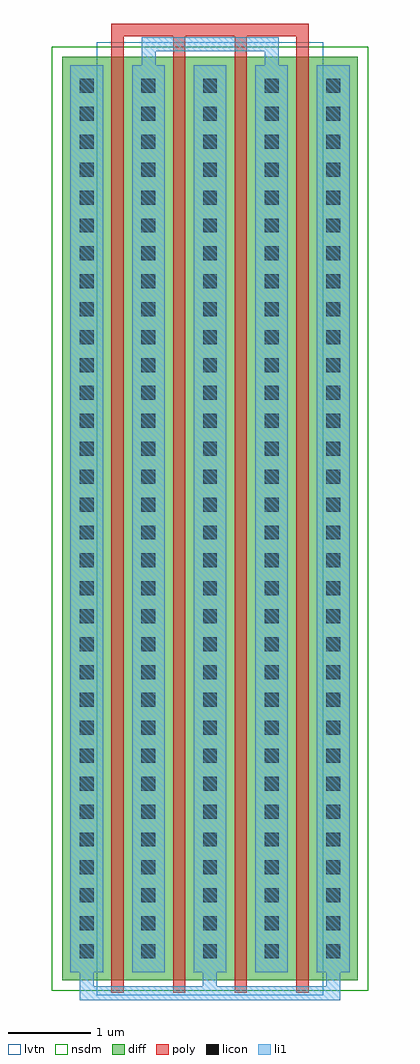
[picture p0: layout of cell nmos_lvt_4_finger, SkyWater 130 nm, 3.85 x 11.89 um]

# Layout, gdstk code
import gdstk
lib = gdstk.Library(unit=1e-6, precision=1e-09)
def R(c, l, rs):  # rectangles x0, y0, x1, y1
    for r in rs: c.add(gdstk.rectangle(r[:2], r[2:], *l))
def A(c, l, x, y, w, h, nx, ny, dx, dy):  # array of equal rectangles
    R(c, l, [(x+i*dx, y+j*dy, x+i*dx+w, y+j*dy+h) for i in range(nx) for j in range(ny)])
diff = (65, 20)
poly = (66, 20)
licon = (66, 44)
li1 = (67, 20)
nsdm = (93, 44)
lvtn = (125, 44)

nmos_lvt_4_finger = lib.new_cell('nmos_lvt_4_finger')
R(nmos_lvt_4_finger, diff, [(1.2,5.25,4.8,16.5)])
A(nmos_lvt_4_finger, poly, 1.8, 5.1, 0.15, 11.55, 4, 1, 0.75, 0)
A(nmos_lvt_4_finger, licon, 1.415, 5.52, 0.17, 0.17, 5, 32, 0.75, 0.34)
A(nmos_lvt_4_finger, li1, 1.3, 5.35, 0.4, 11.05, 5, 1, 0.75, 0)
R(nmos_lvt_4_finger, nsdm, [(1.075,5.125,4.925,16.625)])
R(nmos_lvt_4_finger, lvtn, [(1.62,5.07,4.38,16.68)])
nmos_lvt_4_finger.add(gdstk.FlexPath([(1.875,16.65),(1.875,16.825),(2.625,16.825),(2.625,16.65)], 0.15, ends="flush", simple_path=True, layer=66, datatype=20))  # poly
nmos_lvt_4_finger.add(gdstk.FlexPath([(2.625,16.825),(4.125,16.825),(4.125,16.65)], 0.15, ends="flush", simple_path=True, layer=66, datatype=20))  # poly
nmos_lvt_4_finger.add(gdstk.FlexPath([(3.375,16.65),(3.375,16.75)], 0.15, ends="flush", simple_path=True, layer=66, datatype=20))  # poly
nmos_lvt_4_finger.add(gdstk.FlexPath([(2.995,5.35),(2.995,5.095),(1.5,5.095),(1.5,5.35)], 0.17, ends="flush", simple_path=True, layer=67, datatype=20))  # li1
nmos_lvt_4_finger.add(gdstk.FlexPath([(2.995,5.095),(4.5,5.095),(4.5,5.35)], 0.17, ends="flush", simple_path=True, layer=67, datatype=20))  # li1
nmos_lvt_4_finger.add(gdstk.FlexPath([(2.255,16.4),(2.255,16.655),(3.755,16.655),(3.755,16.4)], 0.17, ends="flush", simple_path=True, layer=67, datatype=20))  # li1

lib.write_gds('nmos_lvt_4_finger.gds')
